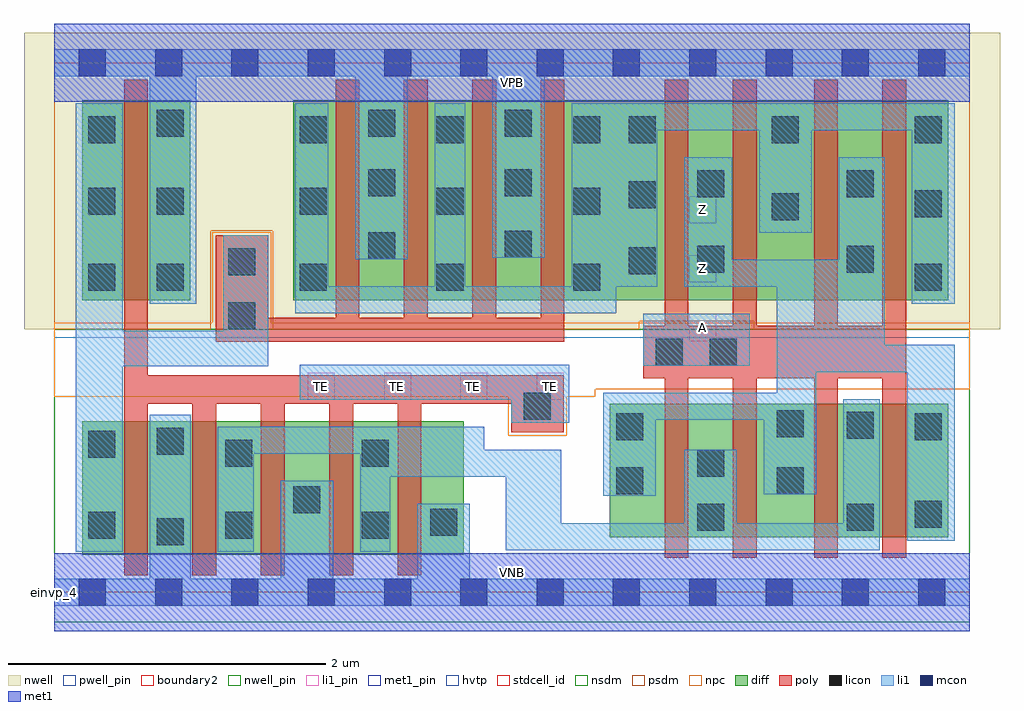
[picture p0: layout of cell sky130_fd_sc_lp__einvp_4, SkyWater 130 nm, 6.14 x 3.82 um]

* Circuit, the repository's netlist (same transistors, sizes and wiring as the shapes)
* Copyright 2020 The SkyWater PDK Authors
*
* Licensed under the Apache License, Version 2.0 (the "License");
* you may not use this file except in compliance with the License.
* You may obtain a copy of the License at
*
*     https://www.apache.org/licenses/LICENSE-2.0
*
* Unless required by applicable law or agreed to in writing, software
* distributed under the License is distributed on an "AS IS" BASIS,
* WITHOUT WARRANTIES OR CONDITIONS OF ANY KIND, either express or implied.
* See the License for the specific language governing permissions and
* limitations under the License.
*
* SPDX-License-Identifier: Apache-2.0

.SUBCKT sky130_fd_sc_lp__einvp_4 A TE VGND VNB VPB VPWR Z
*.PININFO A:I TE:I VGND:I VNB:I VPB:I VPWR:I Z:O
MMN0 Z A sndA VNB sky130_fd_pr__nfet_01v8 m=4 w=0.84U l=0.15U mult=1 sa=0.265 sb=0.265
+ sd=0.28 area=0.063 perim=1.14
MMN1 sndA TE VGND VNB sky130_fd_pr__nfet_01v8 m=4 w=0.84U l=0.15U mult=1 sa=0.265
+ sb=0.265 sd=0.28 area=0.063 perim=1.14
MMIN1 TEB TE VGND VNB sky130_fd_pr__nfet_01v8 m=1 w=0.84U l=0.15U mult=1 sa=0.265
+ sb=0.265 sd=0.28 area=0.063 perim=1.14
MMP0 VPWR TEB sndTEB VPB sky130_fd_pr__pfet_01v8_hvt m=4 w=1.26U l=0.15U mult=1
+ sa=0.265 sb=0.265 sd=0.28 area=0.063 perim=1.14
MMP1 sndTEB A Z VPB sky130_fd_pr__pfet_01v8_hvt m=4 w=1.26U l=0.15U mult=1 sa=0.265
+ sb=0.265 sd=0.28 area=0.063 perim=1.14
MMIP1 TEB TE VPWR VPB sky130_fd_pr__pfet_01v8_hvt m=1 w=1.26U l=0.15U mult=1 sa=0.265
+ sb=0.265 sd=0.28 area=0.063 perim=1.14
.ENDS sky130_fd_sc_lp__einvp_4

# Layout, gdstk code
import gdstk
lib = gdstk.Library(unit=1e-6, precision=1e-09)
def R(c, l, rs):  # rectangles x0, y0, x1, y1
    for r in rs: c.add(gdstk.rectangle(r[:2], r[2:], *l))
def A(c, l, x, y, w, h, nx, ny, dx, dy):  # array of equal rectangles
    R(c, l, [(x+i*dx, y+j*dy, x+i*dx+w, y+j*dy+h) for i in range(nx) for j in range(ny)])
def P(c, l, *ps):  # polygons
    for p in ps: c.add(gdstk.Polygon(p, *l))
nwell_pin = (64, 16)
nwell = (64, 20)
diff = (65, 20)
poly = (66, 20)
licon = (66, 44)
li1_pin = (67, 16)
li1 = (67, 20)
mcon = (67, 44)
met1_pin = (68, 16)
met1 = (68, 20)
hvtp = (78, 44)
stdcell_id = (81, 4)
nsdm = (93, 44)
psdm = (94, 20)
npc = (95, 20)
pwell_pin = (122, 16)
boundary2 = (236, 0)

sky130_fd_sc_lp__einvp_4 = lib.new_cell('sky130_fd_sc_lp__einvp_4')
R(sky130_fd_sc_lp__einvp_4, nwell_pin, [(0,3.085,5.76,3.33)])
R(sky130_fd_sc_lp__einvp_4, nwell, [(-0.19,1.655,5.95,3.52)])
R(sky130_fd_sc_lp__einvp_4, diff, [(0.175,0.235,2.575,1.075), (3.495,0.345,5.625,1.185), (0.175,1.835,0.855,3.095), (1.505,1.835,5.625,3.095)])
P(sky130_fd_sc_lp__einvp_4, poly, [(3.205,1.365),(0.59,1.365),(0.59,3.225),(0.44,3.225),(0.44,0.105),(0.59,0.105),(0.59,1.185),(0.87,1.185),(0.87,0.105),(1.02,0.105),(1.02,1.185),(1.3,1.185),(1.3,0.105),(1.45,0.105),(1.45,1.185),(1.73,1.185),(1.73,0.105),(1.88,0.105),(1.88,1.185),(2.16,1.185),(2.16,0.105),(2.31,0.105),(2.31,1.185),(2.875,1.185),(2.875,1.005),(3.205,1.005)],
  [(3.21,3.225),(3.06,3.225),(3.06,1.725),(2.78,1.725),(2.78,3.225),(2.63,3.225),(2.63,1.725),(2.35,1.725),(2.35,3.225),(2.2,3.225),(2.2,1.725),(1.92,1.725),(1.92,3.225),(1.77,3.225),(1.77,1.725),(1.345,1.725),(1.345,2.245),(1.015,2.245),(1.015,1.575),(3.21,1.575)],
  [(5.36,3.225),(5.21,3.225),(5.21,1.675),(4.93,1.675),(4.93,3.225),(4.78,3.225),(4.78,1.675),(4.42,1.675),(4.42,3.225),(4.27,3.225),(4.27,1.675),(3.99,1.675),(3.99,3.225),(3.84,3.225),(3.84,1.675),(3.705,1.675),(3.705,1.345),(3.84,1.345),(3.84,0.215),(3.99,0.215),(3.99,1.345),(4.27,1.345),(4.27,0.215),(4.42,0.215),(4.42,1.345),(4.78,1.345),(4.78,0.215),(4.93,0.215),(4.93,1.345),(5.21,1.345),(5.21,0.215),(5.36,0.215)])
A(sky130_fd_sc_lp__einvp_4, licon, 0.215, 0.335, 0.17, 0.17, 3, 1, 0.86, 0)
A(sky130_fd_sc_lp__einvp_4, licon, 1.545, 1.895, 0.17, 0.17, 3, 2, 0.86, 0.48)
A(sky130_fd_sc_lp__einvp_4, licon, 1.545, 2.825, 0.17, 0.17, 3, 1, 0.86, 0)
A(sky130_fd_sc_lp__einvp_4, licon, 3.615, 2.825, 0.17, 0.17, 3, 1, 0.9, 0)
R(sky130_fd_sc_lp__einvp_4, licon, [(0.645,0.295,0.815,0.465), (2.365,0.355,2.535,0.525), (4.045,0.385,4.215,0.555), (4.985,0.385,5.155,0.555), (5.415,0.405,5.585,0.575), (1.505,0.495,1.675,0.665), (3.535,0.615,3.705,0.785), (4.545,0.615,4.715,0.785), (4.045,0.725,4.215,0.895), (1.075,0.79,1.245,0.96), (1.935,0.79,2.105,0.96), (0.215,0.845,0.385,1.015), (0.645,0.865,0.815,1.035), (3.535,0.955,3.705,1.125), (5.415,0.955,5.585,1.125), (4.985,0.965,5.155,1.135), (4.545,0.975,4.715,1.145), (2.955,1.085,3.125,1.255), (3.785,1.425,3.955,1.595), (4.125,1.425,4.295,1.595), (1.095,1.655,1.265,1.825), (0.215,1.895,0.385,2.065), (0.645,1.895,0.815,2.065), (5.415,1.895,5.585,2.065), (1.095,1.995,1.265,2.165), (3.615,2,3.785,2.17), (4.045,2.01,4.215,2.18), (4.985,2.01,5.155,2.18), (1.975,2.095,2.145,2.265), (2.835,2.105,3.005,2.275), (4.515,2.34,4.685,2.51), (5.415,2.36,5.585,2.53), (0.215,2.375,0.385,2.545), (0.645,2.375,0.815,2.545), (3.615,2.415,3.785,2.585), (4.045,2.485,4.215,2.655), (4.985,2.485,5.155,2.655), (1.975,2.49,2.145,2.66), (2.835,2.49,3.005,2.66), (0.215,2.825,0.385,2.995), (0.645,2.865,0.815,3.035), (1.975,2.865,2.145,3.035), (2.835,2.865,3.005,3.035)])
A(sky130_fd_sc_lp__einvp_4, li1_pin, 1.595, 1.21, 0.17, 0.17, 4, 1, 0.48, 0)
A(sky130_fd_sc_lp__einvp_4, li1_pin, 3.995, 1.58, 0.17, 0.17, 1, 3, 0, 0.37)
R(sky130_fd_sc_lp__einvp_4, li1, [(3.705,1.425,4.375,1.75)])
P(sky130_fd_sc_lp__einvp_4, li1, [(1.895,2.095),(1.895,3.245),(0.895,3.245),(0.895,1.815),(0.6,1.815),(0.6,3.245),(0,3.245),(0,3.415),(5.76,3.415),(5.76,3.245),(3.085,3.245),(3.085,2.105),(2.755,2.105),(2.755,3.245),(2.225,3.245),(2.225,2.095)],
  [(2.285,0.085),(2.285,0.555),(2.615,0.555),(2.615,0.085),(5.76,0.085),(5.76,-0.085),(0,-0.085),(0,0.085),(0.6,0.085),(0.6,1.115),(0.86,1.115),(0.86,0.085),(1.425,0.085),(1.425,0.7),(1.755,0.7),(1.755,0.085)],
  [(5.665,1.555),(5.225,1.555),(5.225,2.735),(4.935,2.735),(4.935,2.09),(4.265,2.09),(4.265,2.735),(3.965,2.735),(3.965,1.92),(4.545,1.92),(4.545,1.255),(3.455,1.255),(3.455,0.605),(3.785,0.605),(3.785,1.085),(4.465,1.085),(4.465,0.615),(4.795,0.615),(4.795,1.385),(5.365,1.385),(5.365,0.325),(5.665,0.325)],
  [(0.43,1.645),(1.065,1.645),(1.065,2.245),(1.345,2.245),(1.345,1.42),(0.43,1.42),(0.43,0.255),(0.135,0.255),(0.135,3.075),(0.43,3.075)],
  [(1.545,1.21),(1.545,1.43),(3.24,1.43),(3.24,1.065),(2.875,1.065),(2.875,1.21)],
  [(5.665,3.075),(3.255,3.075),(3.255,1.925),(2.585,1.925),(2.585,3.075),(2.395,3.075),(2.395,1.925),(1.725,1.925),(1.725,3.075),(1.515,3.075),(1.515,1.755),(3.535,1.755),(3.535,1.92),(3.795,1.92),(3.795,2.905),(4.435,2.905),(4.435,2.26),(4.765,2.26),(4.765,2.905),(5.395,2.905),(5.395,1.815),(5.665,1.815)],
  [(5.195,1.215),(4.965,1.215),(4.965,0.435),(4.295,0.435),(4.295,0.895),(3.965,0.895),(3.965,0.435),(3.19,0.435),(3.19,0.895),(2.705,0.895),(2.705,1.04),(1.03,1.04),(1.03,0.255),(1.255,0.255),(1.255,0.87),(1.925,0.87),(1.925,0.255),(2.115,0.255),(2.115,0.725),(2.84,0.725),(2.84,0.265),(5.195,0.265)])
A(sky130_fd_sc_lp__einvp_4, mcon, 0.155, -0.085, 0.17, 0.17, 12, 2, 0.48, 3.33)
R(sky130_fd_sc_lp__einvp_4, met1_pin, [(0,0,5.76,0.245), (0,3.085,5.76,3.33)])
R(sky130_fd_sc_lp__einvp_4, met1, [(0,-0.245,5.76,0.245), (0,3.085,5.76,3.575)])
R(sky130_fd_sc_lp__einvp_4, hvtp, [(0,1.6,5.76,3.33)])
R(sky130_fd_sc_lp__einvp_4, stdcell_id, [(0,0,5.76,3.33)])
R(sky130_fd_sc_lp__einvp_4, nsdm, [(0,-0.19,5.76,1.655)])
P(sky130_fd_sc_lp__einvp_4, psdm, [(5.76,3.52),(0,3.52),(0,1.655),(0.985,1.655),(0.985,2.275),(1.375,2.275),(1.375,1.655),(3.68,1.655),(3.68,1.705),(4.4,1.705),(4.4,1.655),(5.76,1.655)])
P(sky130_fd_sc_lp__einvp_4, npc, [(5.76,1.695),(1.365,1.695),(1.365,2.265),(0.995,2.265),(0.995,1.695),(0,1.695),(0,1.23),(2.855,1.23),(2.855,0.985),(3.225,0.985),(3.225,1.23),(3.405,1.23),(3.405,1.275),(5.76,1.275)])
R(sky130_fd_sc_lp__einvp_4, pwell_pin, [(0,0,5.76,0.245)])
R(sky130_fd_sc_lp__einvp_4, boundary2, [(0,0,5.76,3.33)])
sky130_fd_sc_lp__einvp_4.add(gdstk.Label('VNB', (2.88,0.123), layer=64, texttype=59))
sky130_fd_sc_lp__einvp_4.add(gdstk.Label('VPB', (2.88,3.208), layer=64, texttype=5))
sky130_fd_sc_lp__einvp_4.add(gdstk.Label('einvp_4', (0,0), layer=83, texttype=44))
sky130_fd_sc_lp__einvp_4.add(gdstk.Label('VPWR', (2.88,3.208), layer=68, texttype=5))
sky130_fd_sc_lp__einvp_4.add(gdstk.Label('VGND', (2.88,0.123), layer=68, texttype=5))
sky130_fd_sc_lp__einvp_4.add(gdstk.Label('Z', (4.08,2.035), layer=67, texttype=5))
sky130_fd_sc_lp__einvp_4.add(gdstk.Label('Z', (4.08,2.405), layer=67, texttype=5))
sky130_fd_sc_lp__einvp_4.add(gdstk.Label('A', (4.08,1.665), layer=67, texttype=5))
sky130_fd_sc_lp__einvp_4.add(gdstk.Label('TE', (1.68,1.295), layer=67, texttype=5))
sky130_fd_sc_lp__einvp_4.add(gdstk.Label('TE', (2.16,1.295), layer=67, texttype=5))
sky130_fd_sc_lp__einvp_4.add(gdstk.Label('TE', (2.64,1.295), layer=67, texttype=5))
sky130_fd_sc_lp__einvp_4.add(gdstk.Label('TE', (3.12,1.295), layer=67, texttype=5))

lib.write_gds('sky130_fd_sc_lp__einvp_4.gds')
